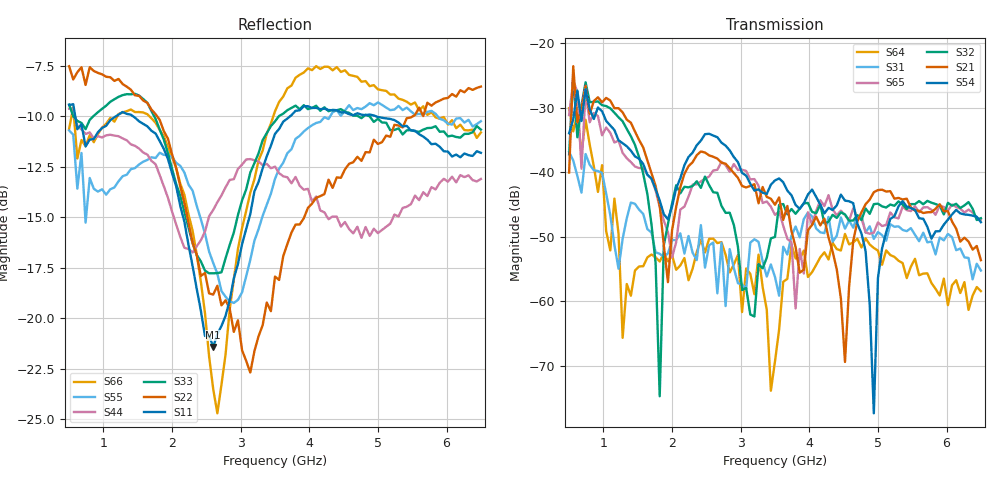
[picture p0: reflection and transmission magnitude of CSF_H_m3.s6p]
!Keysight Technologies,M9804A,MY58100912,A.14.10.03
!Date: Thursday, April 27, 2023 10:28:33
!Correction: S11(C  6-Port  )
!S12(C  6-Port  )
!S13(C  6-Port  )
!S14(C  6-Port  )
!S15(C  6-Port  )
!S16(C  6-Port  )
!S21(C  6-Port  )
!S22(C  6-Port  )
!S23(C  6-Port  )
!S24(C  6-Port  )
!S25(C  6-Port  )
!S26(C  6-Port  )
!S31(C  6-Port  )
!S32(C  6-Port  )
!S33(C  6-Port  )
!S34(C  6-Port  )
!S35(C  6-Port  )
!S36(C  6-Port  )
!S41(C  6-Port  )
!S42(C  6-Port  )
!S43(C  6-Port  )
!S44(C  6-Port  )
!S45(C  6-Port  )
!S46(C  6-Port  )
!S51(C  6-Port  )
!S52(C  6-Port  )
!S53(C  6-Port  )
!S54(C  6-Port  )
!S55(C  6-Port  )
!S56(C  6-Port  )
!S61(C  6-Port  )
!S62(C  6-Port  )
!S63(C  6-Port  )
!S64(C  6-Port  )
!S65(C  6-Port  )
!S66(C  6-Port  )
!S6P File: Measurement: :
# Hz S  RI  R 50
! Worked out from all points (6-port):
!   101 points, 500 MHz to 6.5 GHz, reference 50 ohm
!   strongest paths, dB at 500 MHz, 2 GHz, 3.5 GHz, 5 GHz, 6.5 GHz:
!     S54: -34.0, -45.3, -41.3, -56.4, -47.7
!     S21: -40.1, -49.0, -45.0, -42.8, -53.6
!     S32: -37.3, -44.9, -50.0, -44.9, -47.1
!     S65: -31.2, -53.2, -46.6, -47.8, -47.3
!     S31: -36.9, -50.5, -56.2, -49.3, -55.2
!     S64: -30.1, -52.9, -69.3, -52.1, -58.4
!   lowest |S11| = -21.4 dB at 2.6 GHz (marker M1), VSWR 1.19, Z = 42.5 + j2.18 ohm
!   |S11| at or under -10 dB: 589.5 MHz to 1.177 GHz (587.5 MHz wide, 66.5 % of centre); 1.437 GHz to 3.716 GHz (2.279 GHz wide, 88.5 % of centre); 4.98 GHz to end of sweep
